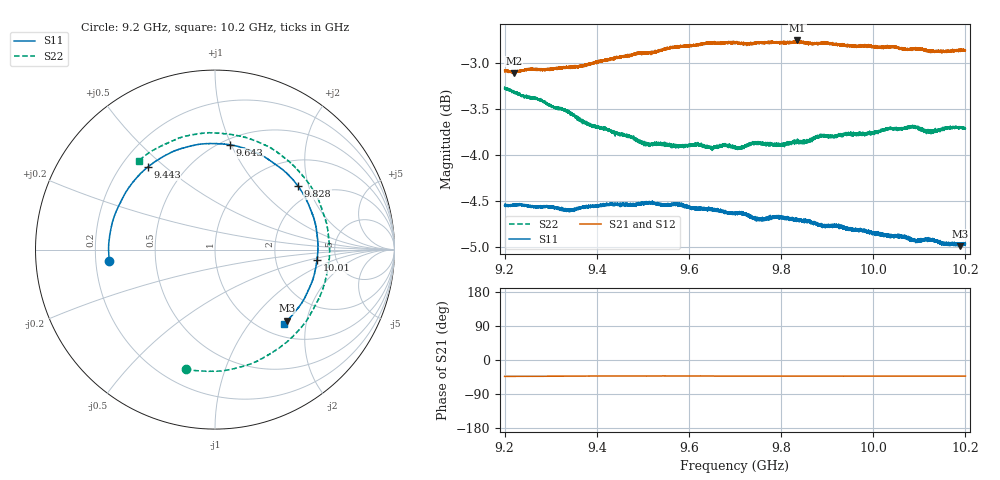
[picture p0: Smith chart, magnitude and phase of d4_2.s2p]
!Agilent Technologies,N5242A,MY51221714,A.09.90.19
!Agilent N5242A: A.09.90.19
!Date: Tuesday, March 26, 2024 17:11:14
!Correction: S11(Full 2 Port(1,2))
!S21(Full 2 Port(1,2))
!S12(Full 2 Port(1,2))
!S22(Full 2 Port(1,2))
!S2P File: Measurements: S11, S21, S12, S22:
# Hz S  dB  R 50
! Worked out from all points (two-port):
!   16001 points, 9.2 GHz to 10.2 GHz, reference 50 ohm
!   highest |S21| = -2.76 dB at 9.835 GHz (marker M1); lowest = -3.1 dB at 9.22 GHz (marker M2)
!   |S21| within 3 dB of the highest: start of sweep to end of sweep
!   lowest |S11| = -5.0 dB at 10.19 GHz (marker M3), VSWR 3.58, Z = 65.9 - j76.6 ohm
!   |S11| at or under -10 dB: nowhere
!   |S22| runs from -4.0 to -3.3 dB; largest |S21 - S12| = 0.012
!   S11 on the Smith chart (normalised r, x): 9.2 GHz: 0.26, -0.05; 9.443 GHz: 0.31, +0.44; 9.643 GHz: 0.55, +0.99; 9.828 GHz: 1.59, +1.71; 10.01 GHz: 3.56, -0.61; 10.2 GHz: 1.23, -1.50
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9.2e9  -4.55 -174.0  -3.08 -43.3  -3.07 -44.1  -3.28 -103.6
9.219625e9  -4.55 -178.6  -3.11 -43.2  -3.09 -43.9  -3.33 -99.0
9.285688e9  -4.57 166.0  -3.08 -43.0  -3.07 -43.6  -3.42 -83.5
9.331312e9  -4.60 155.4  -3.06 -42.7  -3.03 -43.3  -3.53 -72.5
9.366688e9  -4.56 147.3  -3.03 -42.5  -3.02 -43.1  -3.64 -64.0
9.443312e9  -4.54 129.3  -2.93 -42.2  -2.94 -42.9  -3.77 -45.3
9.478375e9  -4.54 121.1  -2.92 -42.1  -2.92 -42.8  -3.83 -36.7
9.533375e9  -4.54 108.0  -2.87 -42.1  -2.86 -42.7  -3.87 -22.9
9.596e9  -4.56 93.2  -2.82 -42.2  -2.81 -42.8  -3.90 -7.8
9.64325e9  -4.59 81.9  -2.78 -42.2  -2.79 -42.8  -3.91 3.8
9.7e9  -4.64 68.3  -2.78 -42.5  -2.77 -43.0  -3.92 17.3
9.757312e9  -4.71 54.6  -2.78 -42.4  -2.78 -43.1  -3.88 31.0
9.827625e9  -4.70 37.6  -2.78 -42.4  -2.78 -43.1  -3.85 47.8
9.835438e9  -4.71 35.8  -2.76 -42.5  -2.79 -43.1  -3.83 49.4
9.866688e9  -4.73 28.4  -2.78 -42.6  -2.79 -43.1  -3.83 56.6
9.941312e9  -4.79 10.7  -2.82 -42.6  -2.81 -43.1  -3.78 73.8
1.001331e10  -4.85 -5.8  -2.84 -42.5  -2.82 -43.1  -3.75 89.9
1.003338e10  -4.89 -10.4  -2.84 -42.5  -2.83 -43.2  -3.71 94.2
1.009538e10  -4.93 -24.4  -2.85 -42.6  -2.86 -43.1  -3.71 107.8
1.013044e10  -4.94 -32.2  -2.88 -42.6  -2.88 -43.2  -3.75 115.6
1.018869e10  -4.99 -44.8  -2.88 -42.5  -2.86 -43.1  -3.72 128.0
1.02e10  -4.96 -47.2  -2.87 -42.6  -2.86 -43.1  -3.72 130.5
